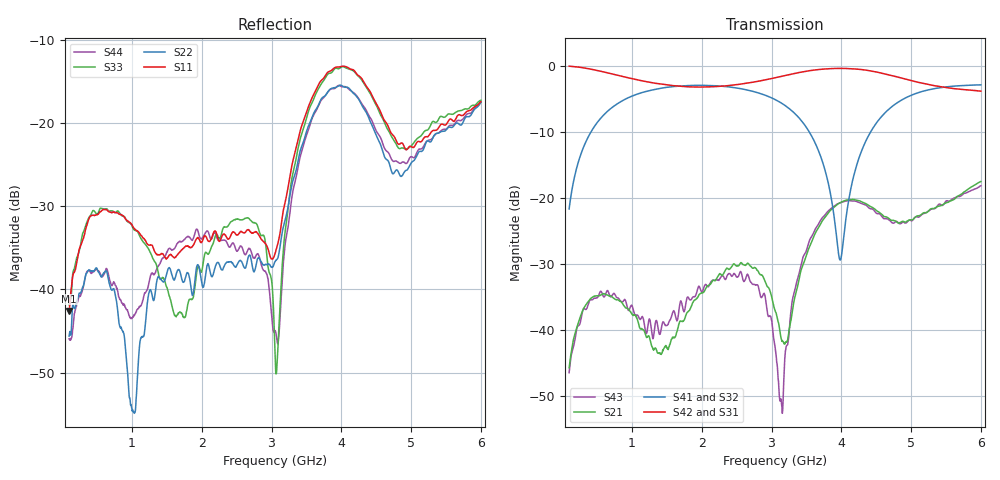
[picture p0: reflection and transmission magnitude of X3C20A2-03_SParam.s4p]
# GHz S RI R 50
! S-Parameters data
! Freq  reS11  imS11  reS12  imS12  reS13  imS13  reS14  imS14
!  reS21  imS21  reS22  imS22  reS23  imS23  reS24  imS24
!  reS31  imS31  reS32  imS32  reS33  imS33  reS34  imS34
!  reS41  imS41  reS42  imS42  reS43  imS43  reS44  imS44
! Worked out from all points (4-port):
!   1181 points, 100 MHz to 6 GHz, reference 50 ohm
!   strongest paths, dB at 100 MHz, 1.575 GHz, 3.05 GHz, 4.525 GHz, 6 GHz:
!     S42: 0.0, -2.9, -1.8, -0.9, -3.8
!     S31: 0.0, -2.9, -1.8, -1.0, -3.8
!     S41: -21.7, -3.1, -5.1, -8.3, -2.8
!     S32: -21.7, -3.1, -5.1, -8.3, -2.9
!     S21: -45.8, -41.3, -37.0, -22.1, -17.5
!     S43: -46.5, -37.7, -42.5, -22.4, -18.1
!   lowest |S11| = -42.6 dB at 100 MHz (marker M1), VSWR 1.01, Z = 50.2 - j0.718 ohm
!   |S11| at or under -10 dB: start of sweep to end of sweep
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0.1  0.00198 -0.00715  0.0011 0.00478  0.985 -0.1586  0.0135 0.0814
     0.00112 0.00503  0.00288 -0.00437  0.0135 0.0813  0.9851 -0.1593
     0.9853 -0.1587  0.0135 0.0813  -0.000264 -0.00806  0.00117 0.00499
     0.0136 0.0814  0.9856 -0.1587  0.00128 0.00456  0.0029 -0.00414
0.995  -0.0242 0.00471  0.00868 -0.0114  0.1075 -0.7962  0.5849 0.0766
       0.00854 -0.0103  2.03e-05 0.00194  0.5841 0.0766  0.103 -0.7972
       0.1073 -0.7964  0.5839 0.0769  -0.0243 -0.00235  0.00996 -0.00828
       0.5851 0.0767  0.1038 -0.7974  0.0122 -0.0094  -0.000701 0.00665
2.67  0.000222 0.0228  -0.0264 -0.0142  -0.7408 0.0746  -0.0618 -0.6521
      -0.0281 -0.0148  0.00333 0.0155  -0.0609 -0.6515  -0.7405 0.0815
      -0.7407 0.0754  -0.0602 -0.6511  0.0136 0.0231  -0.0271 -0.00774
      -0.0616 -0.6522  -0.7404 0.0801  -0.0247 -0.00665  0.00929 0.0148
3.12  -0.0215 -0.00179  -0.01 0.00135  -0.6631 0.4982  -0.311 -0.4323
      -0.00976 3.96e-05  -0.0178 0.00131  -0.3092 -0.4328  -0.66 0.5027
      -0.6621 0.4993  -0.3087 -0.4328  -0.00708 -0.0027  0.000138 0.000419
      -0.3109 -0.4322  -0.6611 0.5012  -0.000189 0.0029  -0.00598 -0.00273
3.825  -0.2031 0.0237  -0.0785 0.00625  0.099 0.9418  -0.1199 -0.019
       -0.0781 0.00609  -0.157 0.0181  -0.1203 -0.0222  0.1018 0.9496
       0.1018 0.9412  -0.1202 -0.0222  -0.1984 0.0216  -0.0801 -0.00334
       -0.12 -0.0188  0.0992 0.9496  -0.0808 -0.00284  -0.156 0.0179
4.66  0.0258 0.0946  0.0425 0.0556  0.8497 0.1463  0.0648 -0.4553
      0.0414 0.0579  0.0192 0.0569  0.0581 -0.4564  0.8526 0.1443
      0.8498 0.145  0.0588 -0.4557  0.00624 0.0923  0.0329 0.0625
      0.0653 -0.4554  0.8515 0.1474  0.0319 0.0616  0.0287 0.0612
6  0.1019 0.0884  -0.0569 -0.1172  0.0357 -0.6442  -0.7154 -0.0792
   -0.0599 -0.1191  0.1017 0.0868  -0.7143 -0.0727  0.051 -0.6442
   0.0323 -0.6457  -0.7134 -0.0734  0.1095 0.0831  -0.0615 -0.1151
   -0.7159 -0.0793  0.0544 -0.6432  -0.0546 -0.1111  0.1034 0.0859
